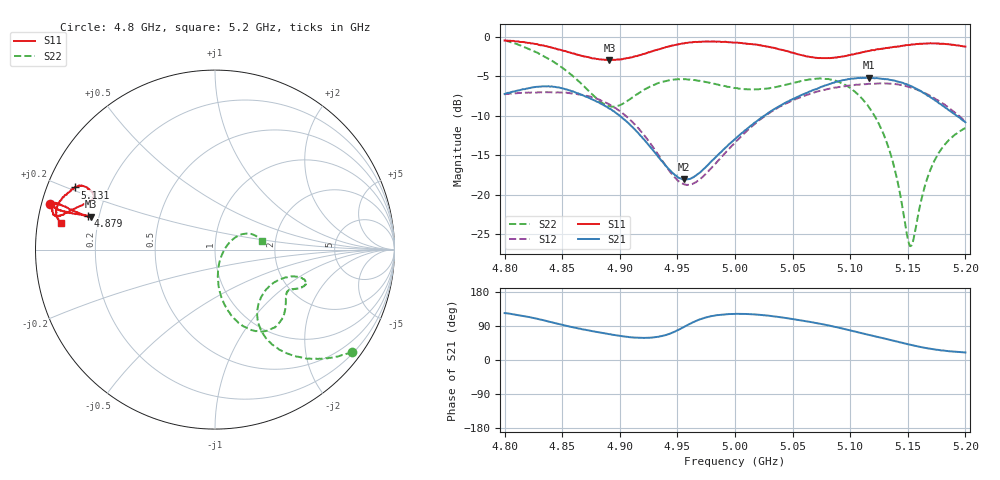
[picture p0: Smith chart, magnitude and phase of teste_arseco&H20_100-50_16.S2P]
! Network Analyzer HP8722D
! Hewlett-Packard
! Data name: Linha & Wilkinson
! Saver's name: Rodrigo Anjos
! Comments: Teste da utilização de aquisição
! continua pelo VNA HP8722D
! Time and date: 6/5/2025 12:42
!  Frequency  S11  S21  S12  S22
# HZ  S  MA R 50
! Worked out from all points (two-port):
!   401 points, 4.8 GHz to 5.2 GHz, reference 50 ohm
!   highest |S21| = -5.17 dB at 5.116 GHz (marker M1); lowest = -18.1 dB at 4.956 GHz (marker M2)
!   |S21| within 3 dB of the highest: start of sweep to 4.88 GHz; 5.046 GHz to 5.175 GHz (129.1 MHz wide, 2.53 % of centre)
!   lowest |S11| = -2.9 dB at 4.891 GHz (marker M3), VSWR 6.02, Z = 8.44 + j6.31 ohm
!   |S11| at or under -10 dB: nowhere
!   |S22| runs from -26.6 to -0.4 dB; largest |S21 - S12| = 0.71
!   S11 on the Smith chart (normalised r, x): 4.8 GHz: 0.02, +0.14; 4.879 GHz: 0.16, +0.13; 5.131 GHz: 0.08, +0.21; 5.2 GHz: 0.07, +0.09
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4.8e9  0.9521 164.4  0.4353 123.8  0.4337 19.4  0.9526 -36.6
4.834e9  0.8838 165.8  0.4871 104.6  0.4467 8.7  0.7558 -52.2
4.867e9  0.761 165.3  0.4293 81.3  0.4297 -4.8  0.5033 -60.1
4.879e9  0.7298 165.1  0.3931 74.7  0.4082 -11.9  0.4134 -55.3
4.891e9  0.7152 165.2  0.3511 68.2  0.3736 -19.3  0.364 -42.4
4.911e9  0.7463 165.3  0.2686 59.7  0.289 -30.4  0.4141 -22.5
4.934e9  0.8375 164.5  0.1713 61.6  0.1763 -32.6  0.5125 -18.2
4.956e9  0.9125 163.6  0.1248 87.7  0.116 -5.3  0.5399 -21.1
4.97e9  0.933 164.2  0.1388 107.6  0.1262 18.6  0.5263 -23.5
5e9  0.9242 167.5  0.2253 121.5  0.2144 40.0  0.4747 -28.0
5.033e9  0.8571 166.2  0.345 115.5  0.3409 36.5  0.4789 -34.3
5.067e9  0.7458 158.8  0.459 99.6  0.44 22.0  0.5403 -47.6
5.092e9  0.7503 155.2  0.5284 84.0  0.4839 8.2  0.513 -62.5
5.116e9  0.8162 154.3  0.5515 66.3  0.5055 -6.1  0.3615 -77.0
5.131e9  0.8542 156.1  0.5417 55.7  0.5076 -15.8  0.2216 -84.0
5.134e9  0.8556 156.4  0.5357 53.5  0.5059 -17.7  0.1916 -84.4
5.141e9  0.8723 158.2  0.5226 48.5  0.5012 -22.7  0.122 -82.1
5.15e9  0.8902 160.3  0.4965 41.6  0.4851 -28.8  0.05231 -48.7
5.153e9  0.8972 161.0  0.4872 39.7  0.4775 -30.9  0.04724 -19.0
5.164e9  0.9107 163.9  0.4404 32.6  0.4436 -37.6  0.1082 29.2
5.172e9  0.9121 165.7  0.4038 28.5  0.414 -42.0  0.158 30.6
5.2e9  0.8709 170.2  0.2877 19.8  0.2915 -52.0  0.2643 10.2
